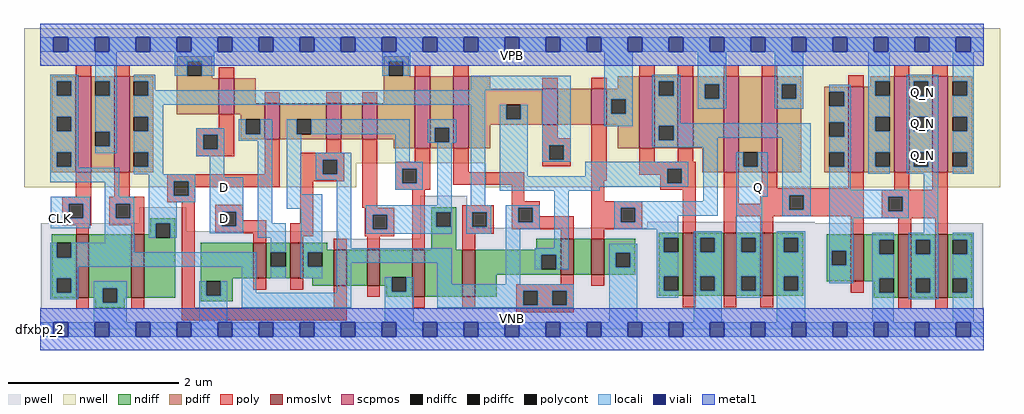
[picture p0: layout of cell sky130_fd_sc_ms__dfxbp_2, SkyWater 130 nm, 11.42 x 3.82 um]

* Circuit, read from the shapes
.subckt sky130_fd_sc_ms__dfxbp_2 CLK D VGND VNB VPB VPWR Q Q_N
XM1 VGND CLK n1 VNB sky130_fd_pr__nfet_01v8_lvt w=0.74 l=0.15
XM2 n2 n1 VGND VNB sky130_fd_pr__nfet_01v8_lvt w=0.74 l=0.15
XM3 n3 D VGND VNB sky130_fd_pr__nfet_01v8_lvt w=0.42 l=0.15
XM4 n4 n1 n3 VNB sky130_fd_pr__nfet_01v8_lvt w=0.42 l=0.15
XM5 n5 n2 n4 VNB sky130_fd_pr__nfet_01v8_lvt w=0.42 l=0.15
XM6 VGND n6 n5 VNB sky130_fd_pr__nfet_01v8_lvt w=0.42 l=0.15
XM7 n6 n4 VGND VNB sky130_fd_pr__nfet_01v8_lvt w=0.55 l=0.15
XM8 n7 n2 n6 VNB sky130_fd_pr__nfet_01v8_lvt w=0.55 l=0.15
XM9 n8 n1 n7 VNB sky130_fd_pr__nfet_01v8_lvt w=0.42 l=0.15
XM10 VGND n9 n8 VNB sky130_fd_pr__nfet_01v8_lvt w=0.42 l=0.15
XM11 VGND n7 n9 VNB sky130_fd_pr__nfet_01v8_lvt w=0.74 l=0.15
XM12 Q n9 VGND VNB sky130_fd_pr__nfet_01v8_lvt w=0.74 l=0.15 m=2
XM13 VGND n9 n10 VNB sky130_fd_pr__nfet_01v8_lvt w=0.55 l=0.15
XM14 Q_N n10 VGND VNB sky130_fd_pr__nfet_01v8_lvt w=0.74 l=0.15 m=2
XM15 VPWR CLK n1 VPB sky130_fd_pr__pfet_01v8 w=1.12 l=0.18
XM16 n2 n1 VPWR VPB sky130_fd_pr__pfet_01v8 w=1.12 l=0.18
XM17 n3 D VPWR VPB sky130_fd_pr__pfet_01v8 w=0.42 l=0.18
XM18 n4 n2 n3 VPB sky130_fd_pr__pfet_01v8 w=0.42 l=0.18
XM19 n11 n1 n4 VPB sky130_fd_pr__pfet_01v8 w=0.42 l=0.18
XM20 VPWR n6 n11 VPB sky130_fd_pr__pfet_01v8 w=0.42 l=0.18
XM21 n6 n4 VPWR VPB sky130_fd_pr__pfet_01v8 w=0.84 l=0.18
XM22 n7 n1 n6 VPB sky130_fd_pr__pfet_01v8 w=0.84 l=0.18
XM23 n12 n2 n7 VPB sky130_fd_pr__pfet_01v8 w=0.42 l=0.18
XM24 VPWR n9 n12 VPB sky130_fd_pr__pfet_01v8 w=0.42 l=0.18
XM25 n9 n7 VPWR VPB sky130_fd_pr__pfet_01v8 w=0.84 l=0.18 m=2
XM26 Q n9 VPWR VPB sky130_fd_pr__pfet_01v8 w=1.12 l=0.18 m=2
XM27 VPWR n9 n10 VPB sky130_fd_pr__pfet_01v8 w=1 l=0.18
XM28 Q_N n10 VPWR VPB sky130_fd_pr__pfet_01v8 w=1.12 l=0.18 m=2
.ends

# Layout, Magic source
magic
tech sky130A
magscale 1 2
<< nwell >>
rect -38 388 2246 704
rect -38 332 740 388
rect 1041 332 2246 388
<< pwell >>
rect 232 248 342 286
rect 1 229 342 248
rect 889 238 999 312
rect 1421 248 1812 252
rect 1421 238 2207 248
rect 1 212 698 229
rect 889 212 2207 238
rect 1 49 2207 212
rect 0 0 2208 49
<< scpmos >>
rect 83 368 119 592
rect 173 368 209 592
rect 418 503 454 587
rect 525 445 561 529
rect 669 445 705 529
rect 753 445 789 529
rect 877 424 913 592
rect 967 424 1003 592
rect 1175 479 1211 563
rect 1290 479 1326 563
rect 1402 424 1438 592
rect 1492 424 1528 592
rect 1599 368 1635 592
rect 1689 368 1725 592
rect 1891 368 1927 568
rect 1998 368 2034 592
rect 2088 368 2124 592
<< nmoslvt >>
rect 84 74 114 222
rect 213 74 243 222
rect 499 119 529 203
rect 585 119 615 203
rect 687 102 717 186
rect 765 102 795 186
rect 870 76 900 186
rect 988 76 1018 186
rect 1218 128 1248 212
rect 1290 128 1320 212
rect 1504 78 1534 226
rect 1599 78 1629 226
rect 1685 78 1715 226
rect 1897 112 1927 222
rect 2008 74 2038 222
rect 2094 74 2124 222
<< ndiff >>
rect 258 248 316 260
rect 258 222 270 248
rect 27 202 84 222
rect 27 168 39 202
rect 73 168 84 202
rect 27 120 84 168
rect 27 86 39 120
rect 73 86 84 120
rect 27 74 84 86
rect 114 96 213 222
rect 114 74 146 96
rect 129 62 146 74
rect 180 74 213 96
rect 243 214 270 222
rect 304 214 316 248
rect 243 74 316 214
rect 180 62 198 74
rect 129 50 198 62
rect 376 119 499 203
rect 529 180 585 203
rect 529 146 540 180
rect 574 146 585 180
rect 529 119 585 146
rect 615 186 672 203
rect 915 274 973 286
rect 915 240 927 274
rect 961 240 973 274
rect 915 186 973 240
rect 1447 214 1504 226
rect 1161 186 1218 212
rect 615 180 687 186
rect 615 146 626 180
rect 660 146 687 180
rect 615 119 687 146
rect 376 112 450 119
rect 376 78 388 112
rect 422 78 450 112
rect 637 102 687 119
rect 717 102 765 186
rect 795 122 870 186
rect 795 102 823 122
rect 376 66 450 78
rect 810 88 823 102
rect 857 88 870 122
rect 810 76 870 88
rect 900 76 988 186
rect 1018 174 1218 186
rect 1018 140 1173 174
rect 1207 140 1218 174
rect 1018 128 1218 140
rect 1248 128 1290 212
rect 1320 179 1393 212
rect 1320 145 1347 179
rect 1381 145 1393 179
rect 1320 128 1393 145
rect 1447 180 1459 214
rect 1493 180 1504 214
rect 1018 76 1068 128
rect 1447 124 1504 180
rect 1447 90 1459 124
rect 1493 90 1504 124
rect 1447 78 1504 90
rect 1534 214 1599 226
rect 1534 180 1545 214
rect 1579 180 1599 214
rect 1534 124 1599 180
rect 1534 90 1545 124
rect 1579 90 1599 124
rect 1534 78 1599 90
rect 1629 214 1685 226
rect 1629 180 1640 214
rect 1674 180 1685 214
rect 1629 124 1685 180
rect 1629 90 1640 124
rect 1674 90 1685 124
rect 1629 78 1685 90
rect 1715 214 1786 226
rect 1715 180 1740 214
rect 1774 180 1786 214
rect 1715 124 1786 180
rect 1715 90 1740 124
rect 1774 90 1786 124
rect 1840 184 1897 222
rect 1840 150 1852 184
rect 1886 150 1897 184
rect 1840 112 1897 150
rect 1927 210 2008 222
rect 1927 176 1963 210
rect 1997 176 2008 210
rect 1927 120 2008 176
rect 1927 112 1963 120
rect 1715 78 1786 90
rect 1951 86 1963 112
rect 1997 86 2008 120
rect 1951 74 2008 86
rect 2038 210 2094 222
rect 2038 176 2049 210
rect 2083 176 2094 210
rect 2038 120 2094 176
rect 2038 86 2049 120
rect 2083 86 2094 120
rect 2038 74 2094 86
rect 2124 210 2181 222
rect 2124 176 2135 210
rect 2169 176 2181 210
rect 2124 120 2181 176
rect 2124 86 2135 120
rect 2169 86 2181 120
rect 2124 74 2181 86
<< pdiff >>
rect 319 627 403 639
rect 319 593 344 627
rect 378 593 403 627
rect 804 627 862 639
rect 27 580 83 592
rect 27 546 39 580
rect 73 546 83 580
rect 27 497 83 546
rect 27 463 39 497
rect 73 463 83 497
rect 27 414 83 463
rect 27 380 39 414
rect 73 380 83 414
rect 27 368 83 380
rect 119 580 173 592
rect 119 546 129 580
rect 163 546 173 580
rect 119 462 173 546
rect 119 428 129 462
rect 163 428 173 462
rect 119 368 173 428
rect 209 580 265 592
rect 209 546 219 580
rect 253 546 265 580
rect 209 497 265 546
rect 319 587 403 593
rect 804 593 816 627
rect 850 593 862 627
rect 804 592 862 593
rect 319 503 418 587
rect 454 529 504 587
rect 804 529 877 592
rect 454 503 525 529
rect 209 463 219 497
rect 253 463 265 497
rect 209 414 265 463
rect 209 380 219 414
rect 253 380 265 414
rect 469 491 525 503
rect 469 457 481 491
rect 515 457 525 491
rect 469 445 525 457
rect 561 491 669 529
rect 561 457 600 491
rect 634 457 669 491
rect 561 445 669 457
rect 705 445 753 529
rect 789 445 877 529
rect 209 368 265 380
rect 827 424 877 445
rect 913 472 967 592
rect 913 438 923 472
rect 957 438 967 472
rect 913 424 967 438
rect 1003 563 1053 592
rect 1352 563 1402 592
rect 1003 525 1175 563
rect 1003 491 1091 525
rect 1125 491 1175 525
rect 1003 479 1175 491
rect 1211 479 1290 563
rect 1326 538 1402 563
rect 1326 504 1336 538
rect 1370 504 1402 538
rect 1326 479 1402 504
rect 1003 424 1053 479
rect 1352 424 1402 479
rect 1438 580 1492 592
rect 1438 546 1448 580
rect 1482 546 1492 580
rect 1438 476 1492 546
rect 1438 442 1448 476
rect 1482 442 1492 476
rect 1438 424 1492 442
rect 1528 573 1599 592
rect 1528 539 1555 573
rect 1589 539 1599 573
rect 1528 424 1599 539
rect 1549 368 1599 424
rect 1635 414 1689 592
rect 1635 380 1645 414
rect 1679 380 1689 414
rect 1635 368 1689 380
rect 1725 573 1781 592
rect 1725 539 1735 573
rect 1769 539 1781 573
rect 1942 580 1998 592
rect 1942 568 1954 580
rect 1725 368 1781 539
rect 1835 556 1891 568
rect 1835 522 1847 556
rect 1881 522 1891 556
rect 1835 485 1891 522
rect 1835 451 1847 485
rect 1881 451 1891 485
rect 1835 414 1891 451
rect 1835 380 1847 414
rect 1881 380 1891 414
rect 1835 368 1891 380
rect 1927 546 1954 568
rect 1988 546 1998 580
rect 1927 497 1998 546
rect 1927 463 1954 497
rect 1988 463 1998 497
rect 1927 414 1998 463
rect 1927 380 1954 414
rect 1988 380 1998 414
rect 1927 368 1998 380
rect 2034 580 2088 592
rect 2034 546 2044 580
rect 2078 546 2088 580
rect 2034 497 2088 546
rect 2034 463 2044 497
rect 2078 463 2088 497
rect 2034 414 2088 463
rect 2034 380 2044 414
rect 2078 380 2088 414
rect 2034 368 2088 380
rect 2124 580 2181 592
rect 2124 546 2135 580
rect 2169 546 2181 580
rect 2124 497 2181 546
rect 2124 463 2135 497
rect 2169 463 2181 497
rect 2124 414 2181 463
rect 2124 380 2135 414
rect 2169 380 2181 414
rect 2124 368 2181 380
<< ndiffc >>
rect 39 168 73 202
rect 39 86 73 120
rect 146 62 180 96
rect 270 214 304 248
rect 540 146 574 180
rect 927 240 961 274
rect 626 146 660 180
rect 388 78 422 112
rect 823 88 857 122
rect 1173 140 1207 174
rect 1347 145 1381 179
rect 1459 180 1493 214
rect 1459 90 1493 124
rect 1545 180 1579 214
rect 1545 90 1579 124
rect 1640 180 1674 214
rect 1640 90 1674 124
rect 1740 180 1774 214
rect 1740 90 1774 124
rect 1852 150 1886 184
rect 1963 176 1997 210
rect 1963 86 1997 120
rect 2049 176 2083 210
rect 2049 86 2083 120
rect 2135 176 2169 210
rect 2135 86 2169 120
<< pdiffc >>
rect 344 593 378 627
rect 39 546 73 580
rect 39 463 73 497
rect 39 380 73 414
rect 129 546 163 580
rect 129 428 163 462
rect 219 546 253 580
rect 816 593 850 627
rect 219 463 253 497
rect 219 380 253 414
rect 481 457 515 491
rect 600 457 634 491
rect 923 438 957 472
rect 1091 491 1125 525
rect 1336 504 1370 538
rect 1448 546 1482 580
rect 1448 442 1482 476
rect 1555 539 1589 573
rect 1645 380 1679 414
rect 1735 539 1769 573
rect 1847 522 1881 556
rect 1847 451 1881 485
rect 1847 380 1881 414
rect 1954 546 1988 580
rect 1954 463 1988 497
rect 1954 380 1988 414
rect 2044 546 2078 580
rect 2044 463 2078 497
rect 2044 380 2078 414
rect 2135 546 2169 580
rect 2135 463 2169 497
rect 2135 380 2169 414
<< poly >>
rect 83 592 119 618
rect 173 592 209 618
rect 418 587 454 613
rect 877 592 913 618
rect 967 592 1003 618
rect 1402 592 1438 618
rect 1492 592 1528 618
rect 1599 592 1635 618
rect 1689 592 1725 618
rect 525 529 561 555
rect 669 529 705 555
rect 753 529 789 555
rect 418 471 454 503
rect 365 455 454 471
rect 365 421 381 455
rect 415 421 454 455
rect 365 405 454 421
rect 83 310 119 368
rect 173 310 209 368
rect 525 363 561 445
rect 669 413 705 445
rect 297 347 561 363
rect 297 313 313 347
rect 347 333 561 347
rect 609 397 711 413
rect 609 363 661 397
rect 695 363 711 397
rect 609 347 711 363
rect 347 313 363 333
rect 51 294 119 310
rect 51 260 67 294
rect 101 260 119 294
rect 51 244 119 260
rect 161 294 243 310
rect 297 297 363 313
rect 161 260 177 294
rect 211 260 243 294
rect 161 244 243 260
rect 84 222 114 244
rect 213 222 243 244
rect 84 48 114 74
rect 213 48 243 74
rect 331 51 361 297
rect 409 275 475 291
rect 409 241 425 275
rect 459 255 475 275
rect 459 241 529 255
rect 609 248 639 347
rect 753 284 789 445
rect 1175 563 1211 589
rect 1290 563 1326 589
rect 1175 447 1211 479
rect 1175 431 1241 447
rect 877 392 913 424
rect 831 376 913 392
rect 831 342 847 376
rect 881 342 913 376
rect 831 326 913 342
rect 967 368 1003 424
rect 1175 397 1191 431
rect 1225 397 1241 431
rect 1175 381 1241 397
rect 967 338 1133 368
rect 409 225 529 241
rect 499 203 529 225
rect 585 218 639 248
rect 759 268 828 284
rect 759 234 778 268
rect 812 234 828 268
rect 759 218 828 234
rect 585 203 615 218
rect 687 186 717 212
rect 765 186 795 218
rect 870 186 900 326
rect 1103 300 1133 338
rect 1290 348 1326 479
rect 1402 392 1438 424
rect 1492 392 1528 424
rect 1402 376 1534 392
rect 1402 362 1467 376
rect 1290 300 1320 348
rect 1451 342 1467 362
rect 1501 342 1534 376
rect 1891 568 1927 594
rect 1998 592 2034 618
rect 2088 592 2124 618
rect 1451 326 1534 342
rect 988 274 1061 290
rect 988 240 1011 274
rect 1045 240 1061 274
rect 988 224 1061 240
rect 1103 284 1169 300
rect 1103 250 1119 284
rect 1153 264 1169 284
rect 1290 284 1409 300
rect 1153 250 1248 264
rect 1103 234 1248 250
rect 988 186 1018 224
rect 1218 212 1248 234
rect 1290 250 1359 284
rect 1393 250 1409 284
rect 1290 234 1409 250
rect 1290 212 1320 234
rect 1504 226 1534 326
rect 1599 294 1635 368
rect 1689 330 1725 368
rect 1891 330 1927 368
rect 1685 314 1927 330
rect 1998 326 2034 368
rect 2088 326 2124 368
rect 1685 294 1753 314
rect 1599 280 1753 294
rect 1787 280 1927 314
rect 1599 264 1927 280
rect 1599 226 1629 264
rect 1685 226 1715 264
rect 499 93 529 119
rect 585 93 615 119
rect 687 51 717 102
rect 765 76 795 102
rect 1218 106 1248 128
rect 1114 90 1248 106
rect 1290 102 1320 128
rect 331 21 717 51
rect 870 50 900 76
rect 988 50 1018 76
rect 1114 56 1130 90
rect 1164 56 1198 90
rect 1232 56 1248 90
rect 1897 222 1927 264
rect 1969 310 2124 326
rect 1969 276 1985 310
rect 2019 276 2124 310
rect 1969 260 2124 276
rect 2008 222 2038 260
rect 2094 222 2124 260
rect 1897 86 1927 112
rect 1114 40 1248 56
rect 1504 52 1534 78
rect 1599 52 1629 78
rect 1685 52 1715 78
rect 2008 48 2038 74
rect 2094 48 2124 74
<< polycont >>
rect 381 421 415 455
rect 313 313 347 347
rect 661 363 695 397
rect 67 260 101 294
rect 177 260 211 294
rect 425 241 459 275
rect 847 342 881 376
rect 1191 397 1225 431
rect 778 234 812 268
rect 1467 342 1501 376
rect 1011 240 1045 274
rect 1119 250 1153 284
rect 1359 250 1393 284
rect 1753 280 1787 314
rect 1130 56 1164 90
rect 1198 56 1232 90
rect 1985 276 2019 310
<< locali >>
rect 0 649 31 683
rect 65 649 127 683
rect 161 649 223 683
rect 257 649 319 683
rect 353 649 415 683
rect 449 649 511 683
rect 545 649 607 683
rect 641 649 703 683
rect 737 649 799 683
rect 833 649 895 683
rect 929 649 991 683
rect 1025 649 1087 683
rect 1121 649 1183 683
rect 1217 649 1279 683
rect 1313 649 1375 683
rect 1409 649 1471 683
rect 1505 649 1567 683
rect 1601 649 1663 683
rect 1697 649 1759 683
rect 1793 649 1855 683
rect 1889 649 1951 683
rect 1985 649 2047 683
rect 2081 649 2143 683
rect 2177 649 2208 683
rect 23 580 89 596
rect 23 546 39 580
rect 73 546 89 580
rect 23 497 89 546
rect 23 463 39 497
rect 73 463 89 497
rect 23 414 89 463
rect 23 380 39 414
rect 73 380 89 414
rect 129 580 179 649
rect 315 627 407 649
rect 163 546 179 580
rect 129 462 179 546
rect 163 428 179 462
rect 129 412 179 428
rect 219 580 269 596
rect 315 593 344 627
rect 378 593 407 627
rect 800 627 866 649
rect 800 593 816 627
rect 850 593 866 627
rect 253 559 269 580
rect 1007 559 1241 593
rect 253 546 1041 559
rect 219 525 1041 546
rect 219 497 288 525
rect 253 463 288 497
rect 219 414 288 463
rect 23 378 89 380
rect 253 380 288 414
rect 365 455 431 471
rect 365 421 381 455
rect 415 421 431 455
rect 465 457 481 491
rect 515 457 543 491
rect 465 441 543 457
rect 365 405 431 421
rect 23 344 185 378
rect 219 363 288 380
rect 151 310 185 344
rect 254 347 363 363
rect 254 313 313 347
rect 347 313 363 347
rect 25 294 117 310
rect 25 260 67 294
rect 101 260 117 294
rect 25 236 117 260
rect 151 294 220 310
rect 151 260 177 294
rect 211 260 220 294
rect 151 202 220 260
rect 254 297 363 313
rect 397 356 431 405
rect 254 248 320 297
rect 254 214 270 248
rect 304 214 320 248
rect 397 275 475 356
rect 397 241 425 275
rect 459 241 475 275
rect 397 225 475 241
rect 509 248 543 441
rect 577 457 600 491
rect 634 457 865 491
rect 577 316 611 457
rect 645 397 728 413
rect 645 363 661 397
rect 695 363 728 397
rect 645 350 728 363
rect 577 282 660 316
rect 509 214 574 248
rect 23 168 39 202
rect 73 180 220 202
rect 540 180 574 214
rect 73 168 506 180
rect 23 146 506 168
rect 23 120 89 146
rect 23 86 39 120
rect 73 86 89 120
rect 23 70 89 86
rect 125 96 202 112
rect 125 62 146 96
rect 180 62 202 96
rect 125 17 202 62
rect 372 78 388 112
rect 422 78 438 112
rect 372 17 438 78
rect 472 85 506 146
rect 540 119 574 146
rect 610 180 660 282
rect 610 146 626 180
rect 610 119 660 146
rect 694 190 728 350
rect 831 392 865 457
rect 907 472 973 491
rect 907 438 923 472
rect 957 438 973 472
rect 907 436 973 438
rect 831 376 895 392
rect 831 342 847 376
rect 881 342 895 376
rect 831 326 895 342
rect 929 290 963 436
rect 1007 290 1041 525
rect 1075 491 1091 525
rect 1125 491 1141 525
rect 1075 358 1141 491
rect 1175 431 1241 559
rect 1320 538 1386 649
rect 1320 504 1336 538
rect 1370 504 1386 538
rect 1320 475 1386 504
rect 1432 580 1498 596
rect 1432 546 1448 580
rect 1482 546 1498 580
rect 1432 482 1498 546
rect 1539 573 1605 649
rect 1539 539 1555 573
rect 1589 539 1605 573
rect 1539 516 1605 539
rect 1719 573 1785 649
rect 1719 539 1735 573
rect 1769 539 1785 573
rect 1938 580 1988 649
rect 1719 516 1785 539
rect 1847 556 1897 572
rect 1881 522 1897 556
rect 1847 485 1897 522
rect 1432 476 1803 482
rect 1175 397 1191 431
rect 1225 397 1241 431
rect 1432 442 1448 476
rect 1482 448 1803 476
rect 1482 442 1585 448
rect 1432 426 1585 442
rect 1175 392 1241 397
rect 1275 376 1517 392
rect 1275 358 1467 376
rect 1075 342 1467 358
rect 1501 342 1517 376
rect 1075 334 1517 342
rect 1075 324 1309 334
rect 762 274 963 290
rect 762 268 927 274
rect 762 234 778 268
rect 812 240 927 268
rect 961 240 963 274
rect 812 234 963 240
rect 762 224 963 234
rect 997 274 1055 290
rect 997 240 1011 274
rect 1045 240 1055 274
rect 997 224 1055 240
rect 1089 284 1169 290
rect 1089 250 1119 284
rect 1153 250 1169 284
rect 1089 234 1169 250
rect 694 156 963 190
rect 694 85 728 156
rect 472 51 728 85
rect 806 88 823 122
rect 857 88 874 122
rect 806 17 874 88
rect 929 106 963 156
rect 1089 106 1123 234
rect 1203 190 1237 324
rect 1551 300 1585 426
rect 1343 284 1585 300
rect 1343 250 1359 284
rect 1393 266 1585 284
rect 1629 380 1645 414
rect 1679 380 1703 414
rect 1629 310 1703 380
rect 1737 314 1803 448
rect 1393 250 1493 266
rect 1343 234 1493 250
rect 1443 214 1493 234
rect 1157 174 1237 190
rect 1157 140 1173 174
rect 1207 140 1237 174
rect 1331 179 1397 200
rect 1331 145 1347 179
rect 1381 145 1397 179
rect 929 90 1248 106
rect 929 56 1130 90
rect 1164 56 1198 90
rect 1232 56 1248 90
rect 929 51 1248 56
rect 1331 17 1397 145
rect 1443 180 1459 214
rect 1443 124 1493 180
rect 1443 90 1459 124
rect 1443 74 1493 90
rect 1529 214 1595 230
rect 1529 180 1545 214
rect 1579 180 1595 214
rect 1529 124 1595 180
rect 1529 90 1545 124
rect 1579 90 1595 124
rect 1529 17 1595 90
rect 1629 214 1690 310
rect 1737 280 1753 314
rect 1787 280 1803 314
rect 1737 264 1803 280
rect 1881 451 1897 485
rect 1847 414 1897 451
rect 1881 380 1897 414
rect 1847 326 1897 380
rect 1938 546 1954 580
rect 1938 497 1988 546
rect 1938 463 1954 497
rect 1938 414 1988 463
rect 1938 380 1954 414
rect 1938 364 1988 380
rect 2028 580 2101 596
rect 2028 546 2044 580
rect 2078 546 2101 580
rect 2028 497 2101 546
rect 2028 463 2044 497
rect 2078 463 2101 497
rect 2028 414 2101 463
rect 2028 380 2044 414
rect 2078 380 2101 414
rect 2028 364 2101 380
rect 2135 580 2185 649
rect 2169 546 2185 580
rect 2135 497 2185 546
rect 2169 463 2185 497
rect 2135 414 2185 463
rect 2169 380 2185 414
rect 2135 364 2185 380
rect 1847 310 2033 326
rect 1847 276 1985 310
rect 2019 276 2033 310
rect 1847 260 2033 276
rect 1629 180 1640 214
rect 1674 180 1690 214
rect 1629 124 1690 180
rect 1629 90 1640 124
rect 1674 90 1690 124
rect 1629 74 1690 90
rect 1724 214 1790 230
rect 1724 180 1740 214
rect 1774 180 1790 214
rect 1724 124 1790 180
rect 1724 90 1740 124
rect 1774 90 1790 124
rect 1847 184 1902 260
rect 2067 226 2101 364
rect 1847 150 1852 184
rect 1886 150 1902 184
rect 1847 108 1902 150
rect 1947 210 1997 226
rect 1947 176 1963 210
rect 1947 120 1997 176
rect 1724 17 1790 90
rect 1947 86 1963 120
rect 1947 17 1997 86
rect 2033 210 2101 226
rect 2033 176 2049 210
rect 2083 176 2101 210
rect 2033 120 2101 176
rect 2033 86 2049 120
rect 2083 86 2101 120
rect 2033 70 2101 86
rect 2135 210 2185 226
rect 2169 176 2185 210
rect 2135 120 2185 176
rect 2169 86 2185 120
rect 2135 17 2185 86
rect 0 -17 31 17
rect 65 -17 127 17
rect 161 -17 223 17
rect 257 -17 319 17
rect 353 -17 415 17
rect 449 -17 511 17
rect 545 -17 607 17
rect 641 -17 703 17
rect 737 -17 799 17
rect 833 -17 895 17
rect 929 -17 991 17
rect 1025 -17 1087 17
rect 1121 -17 1183 17
rect 1217 -17 1279 17
rect 1313 -17 1375 17
rect 1409 -17 1471 17
rect 1505 -17 1567 17
rect 1601 -17 1663 17
rect 1697 -17 1759 17
rect 1793 -17 1855 17
rect 1889 -17 1951 17
rect 1985 -17 2047 17
rect 2081 -17 2143 17
rect 2177 -17 2208 17
<< viali >>
rect 31 649 65 683
rect 127 649 161 683
rect 223 649 257 683
rect 319 649 353 683
rect 415 649 449 683
rect 511 649 545 683
rect 607 649 641 683
rect 703 649 737 683
rect 799 649 833 683
rect 895 649 929 683
rect 991 649 1025 683
rect 1087 649 1121 683
rect 1183 649 1217 683
rect 1279 649 1313 683
rect 1375 649 1409 683
rect 1471 649 1505 683
rect 1567 649 1601 683
rect 1663 649 1697 683
rect 1759 649 1793 683
rect 1855 649 1889 683
rect 1951 649 1985 683
rect 2047 649 2081 683
rect 2143 649 2177 683
rect 31 -17 65 17
rect 127 -17 161 17
rect 223 -17 257 17
rect 319 -17 353 17
rect 415 -17 449 17
rect 511 -17 545 17
rect 607 -17 641 17
rect 703 -17 737 17
rect 799 -17 833 17
rect 895 -17 929 17
rect 991 -17 1025 17
rect 1087 -17 1121 17
rect 1183 -17 1217 17
rect 1279 -17 1313 17
rect 1375 -17 1409 17
rect 1471 -17 1505 17
rect 1567 -17 1601 17
rect 1663 -17 1697 17
rect 1759 -17 1793 17
rect 1855 -17 1889 17
rect 1951 -17 1985 17
rect 2047 -17 2081 17
rect 2143 -17 2177 17
<< metal1 >>
rect 0 683 2208 715
rect 0 649 31 683
rect 65 649 127 683
rect 161 649 223 683
rect 257 649 319 683
rect 353 649 415 683
rect 449 649 511 683
rect 545 649 607 683
rect 641 649 703 683
rect 737 649 799 683
rect 833 649 895 683
rect 929 649 991 683
rect 1025 649 1087 683
rect 1121 649 1183 683
rect 1217 649 1279 683
rect 1313 649 1375 683
rect 1409 649 1471 683
rect 1505 649 1567 683
rect 1601 649 1663 683
rect 1697 649 1759 683
rect 1793 649 1855 683
rect 1889 649 1951 683
rect 1985 649 2047 683
rect 2081 649 2143 683
rect 2177 649 2208 683
rect 0 617 2208 649
rect 0 17 2208 49
rect 0 -17 31 17
rect 65 -17 127 17
rect 161 -17 223 17
rect 257 -17 319 17
rect 353 -17 415 17
rect 449 -17 511 17
rect 545 -17 607 17
rect 641 -17 703 17
rect 737 -17 799 17
rect 833 -17 895 17
rect 929 -17 991 17
rect 1025 -17 1087 17
rect 1121 -17 1183 17
rect 1217 -17 1279 17
rect 1313 -17 1375 17
rect 1409 -17 1471 17
rect 1505 -17 1567 17
rect 1601 -17 1663 17
rect 1697 -17 1759 17
rect 1793 -17 1855 17
rect 1889 -17 1951 17
rect 1985 -17 2047 17
rect 2081 -17 2143 17
rect 2177 -17 2208 17
rect 0 -49 2208 -17
<< labels >>
flabel pwell s 0 0 2208 49 0 FreeSans 200 0 0 0 VNB
port 4 nsew ground bidirectional
flabel nwell s 0 617 2208 666 0 FreeSans 200 0 0 0 VPB
port 5 nsew power bidirectional
rlabel comment s 0 0 0 0 4 dfxbp_2
flabel metal1 s 0 617 2208 666 0 FreeSans 340 0 0 0 VPWR
port 6 nsew power bidirectional
flabel metal1 s 0 0 2208 49 0 FreeSans 340 0 0 0 VGND
port 3 nsew ground bidirectional
flabel locali s 31 242 65 276 0 FreeSans 340 0 0 0 CLK
port 1 nsew clock input
flabel locali s 1663 316 1697 350 0 FreeSans 340 0 0 0 Q
port 7 nsew signal output
flabel locali s 415 242 449 276 0 FreeSans 340 0 0 0 D
port 2 nsew signal input
flabel locali s 415 316 449 350 0 FreeSans 340 0 0 0 D
port 2 nsew signal input
flabel locali s 2047 390 2081 424 0 FreeSans 340 0 0 0 Q_N
port 8 nsew signal output
flabel locali s 2047 464 2081 498 0 FreeSans 340 0 0 0 Q_N
port 8 nsew signal output
flabel locali s 2047 538 2081 572 0 FreeSans 340 0 0 0 Q_N
port 8 nsew signal output
<< properties >>
string LEFsite unit
string LEFclass CORE
string FIXED_BBOX 0 0 2208 666
string GDS_FILE $PDKPATH/libs.ref/sky130_fd_sc_ms/gds/sky130_fd_sc_ms.gds
string LEFsymmetry X Y
string GDS_END 1361034
string GDS_START 1345298
<< end >>
